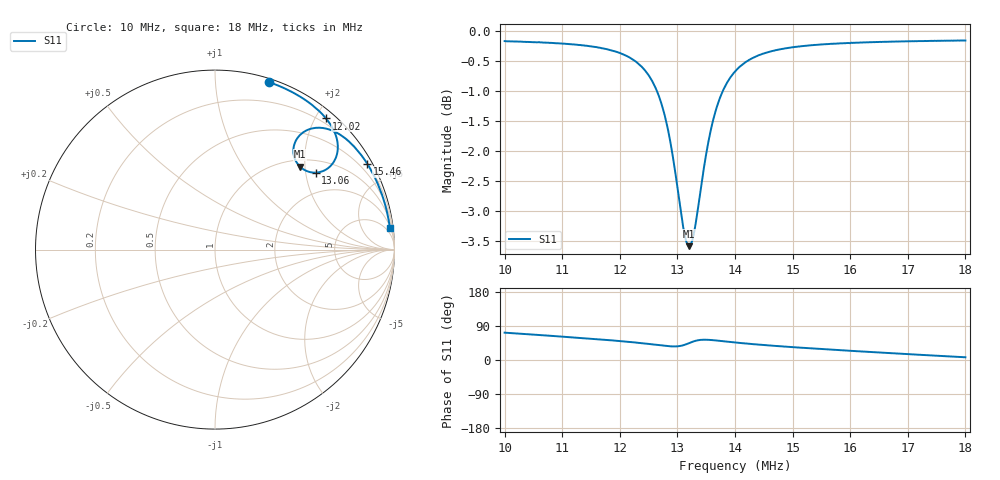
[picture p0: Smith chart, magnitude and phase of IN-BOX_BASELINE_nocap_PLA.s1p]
!File created by NanoVNA
# Hz S RI R 50
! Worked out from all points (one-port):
!   401 points, 10 MHz to 18 MHz, reference 50 ohm
!   lowest |S11| = -3.6 dB at 13.2 MHz (marker M1), VSWR 4.91, Z = 57.2 + j94.1 ohm
!   |S11| at or under -10 dB: nowhere
!   S11 on the Smith chart (normalised r, x): 10 MHz: 0.03, +1.37; 12.02 MHz: 0.12, +2.15; 13.06 MHz: 1.33, +2.28; 15.46 MHz: 0.21, +3.81; 18 MHz: 2, +16
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1e7  0.3005 0.9333
1.1e7  0.4624 0.8592
1.156e7  0.5497 0.7987
1.2e7  0.6161 0.7341
1.202e7  0.6188 0.7305
1.236e7  0.6643 0.6584
1.266e7  0.6841 0.5647
1.276e7  0.6777 0.525
1.284e7  0.6635 0.4917
1.292e7  0.6376 0.46
1.3e7  0.5989 0.4367
1.306e7  0.5616 0.4289
1.312e7  0.5216 0.434
1.32e7  0.4731 0.4627
1.328e7  0.4431 0.5104
1.336e7  0.4373 0.563
1.346e7  0.4572 0.6182
1.356e7  0.4921 0.6539
1.364e7  0.5231 0.6697
1.374e7  0.5602 0.6782
1.4e7  0.6393 0.6683
1.422e7  0.6893 0.645
1.444e7  0.7292 0.617
1.5e7  0.8041 0.5405
1.546e7  0.8491 0.4766
1.6e7  0.8897 0.4023
1.7e7  0.9444 0.262
1.8e7  0.9738 0.1229
